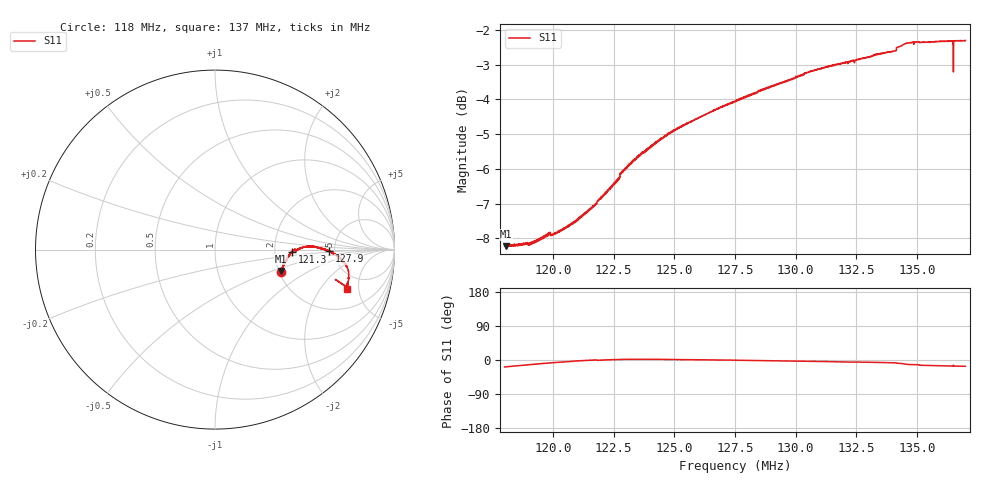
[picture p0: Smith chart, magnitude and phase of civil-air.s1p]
! Calibrated averaged scanner-service zoom
# Hz S RI R 50
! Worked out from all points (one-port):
!   2001 points, 118 MHz to 137 MHz, reference 50 ohm
!   lowest |S11| = -8.2 dB at 118.1 MHz (marker M1), VSWR 2.27, Z = 103 - j28.9 ohm
!   |S11| at or under -10 dB: nowhere
!   S11 on the Smith chart (normalised r, x): 118 MHz: 2.05, -0.59; 121.3 MHz: 2.51, -0.08; 127.9 MHz: 4.46, -0.12; 137 MHz: 3.48, -3.70
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1.18e8  0.3687 -0.1221
1.180665e8  0.3691 -0.1193
1.190735e8  0.3815 -0.0804
1.197955e8  0.399 -0.0556
1.20375e8  0.4081 -0.0394
1.212585e8  0.4311 -0.0137
1.217145e8  0.4436 -0.00347
1.219045e8  0.4526 -0.00558
1.226265e8  0.4796 0.00909
1.2275e8  0.487 0.0123
1.228545e8  0.4974 0.0147
1.236145e8  0.5249 0.0172
1.25125e8  0.5718 0.011
1.275e8  0.6257 -0.00575
1.278705e8  0.6342 -0.00822
1.29875e8  0.675 -0.0306
1.306825e8  0.6924 -0.04
1.3225e8  0.711 -0.0688
1.33105e8  0.7236 -0.077
1.34055e8  0.7342 -0.0944
1.34359e8  0.7438 -0.1202
1.34625e8  0.744 -0.1553
1.35005e8  0.746 -0.1634
1.352045e8  0.7398 -0.1843
1.363825e8  0.7361 -0.2083
1.36411e8  0.7372 -0.2089
1.366105e8  0.7362 -0.2123
1.37e8  0.7348 -0.2193
